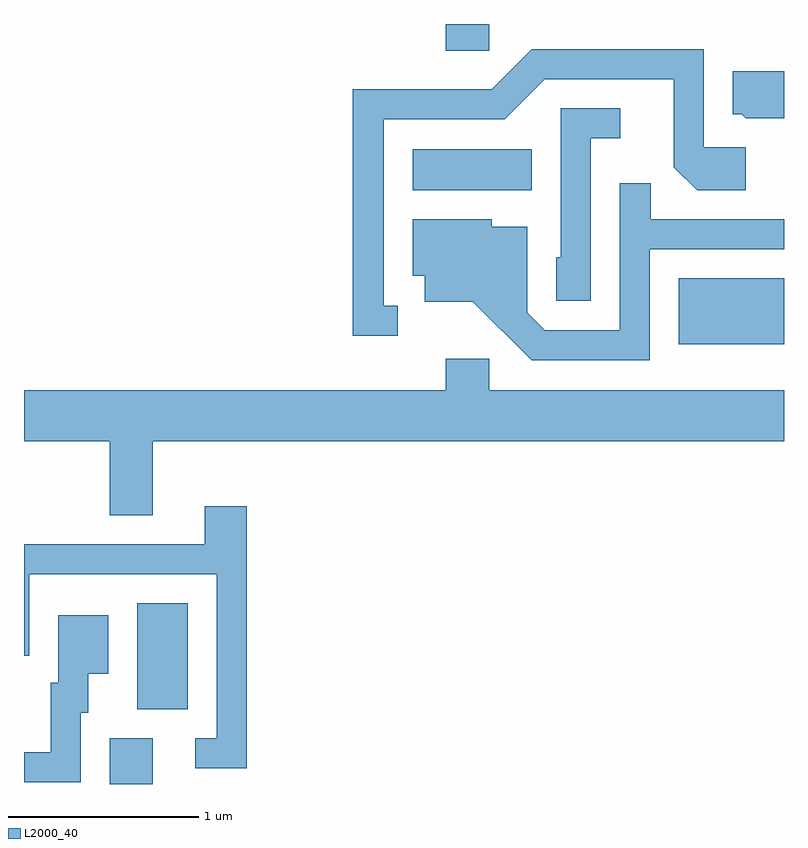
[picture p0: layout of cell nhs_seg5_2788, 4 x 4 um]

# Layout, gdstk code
import gdstk
lib = gdstk.Library(unit=1e-6, precision=1e-09)
def R(c, l, rs):  # rectangles x0, y0, x1, y1
    for r in rs: c.add(gdstk.rectangle(r[:2], r[2:], *l))
def P(c, l, *ps):  # polygons
    for p in ps: c.add(gdstk.Polygon(p, *l))
L2000_40 = (2000, 40)

nhs_seg5_2788 = lib.new_cell('nhs_seg5_2788')
R(nhs_seg5_2788, L2000_40, [(268.061,1486.072,268.289,1486.314), (268.206,1486.466,268.474,1487.024), (271.056,1488.386,271.611,1488.734), (269.656,1489.196,270.284,1489.414), (269.831,1489.931,270.059,1490.072)])
P(nhs_seg5_2788, L2000_40, [(269.578,1488.589),(269.504,1488.589),(269.504,1489.571),(270.142,1489.571),(270.352,1489.781),(271.031,1489.781),(271.031,1489.319),(271.154,1489.196),(271.409,1489.196),(271.409,1489.424),(271.189,1489.424),(271.189,1489.939),(270.284,1489.939),(270.074,1489.729),(269.341,1489.729),(269.341,1488.431),(269.578,1488.431)],
  [(271.611,1489.824),(271.341,1489.824),(271.341,1489.596),(271.389,1489.596),(271.409,1489.576),(271.611,1489.576)],
  [(270.594,1489.471),(270.748,1489.471),(270.748,1489.629),(270.436,1489.629),(270.436,1488.844),(270.411,1488.844),(270.411,1488.616),(270.594,1488.616)],
  [(270.904,1488.886),(271.611,1488.886),(271.611,1489.044),(270.909,1489.044),(270.909,1489.233),(270.746,1489.233),(270.746,1488.459),(270.352,1488.459),(270.259,1488.552),(270.259,1489.004),(270.074,1489.004),(270.074,1489.044),(269.656,1489.044),(269.656,1488.746),(269.721,1488.746),(269.721,1488.611),(269.974,1488.611),(270.284,1488.301),(270.904,1488.301)],
  [(268.289,1487.876),(271.611,1487.876),(271.611,1488.144),(270.059,1488.144),(270.059,1488.309),(269.831,1488.309),(269.831,1488.144),(267.611,1488.144),(267.611,1487.876),(268.061,1487.876),(268.061,1487.486),(268.289,1487.486)],
  [(268.784,1487.534),(268.561,1487.534),(268.561,1487.334),(267.611,1487.334),(267.611,1486.748),(267.639,1486.748),(267.639,1487.176),(268.626,1487.176),(268.626,1486.314),(268.513,1486.314),(268.513,1486.156),(268.784,1486.156)],
  [(267.909,1486.446),(267.949,1486.446),(267.949,1486.651),(268.054,1486.651),(268.054,1486.959),(267.791,1486.959),(267.791,1486.604),(267.751,1486.604),(267.751,1486.239),(267.611,1486.239),(267.611,1486.081),(267.909,1486.081)])

lib.write_gds('nhs_seg5_2788.gds')
